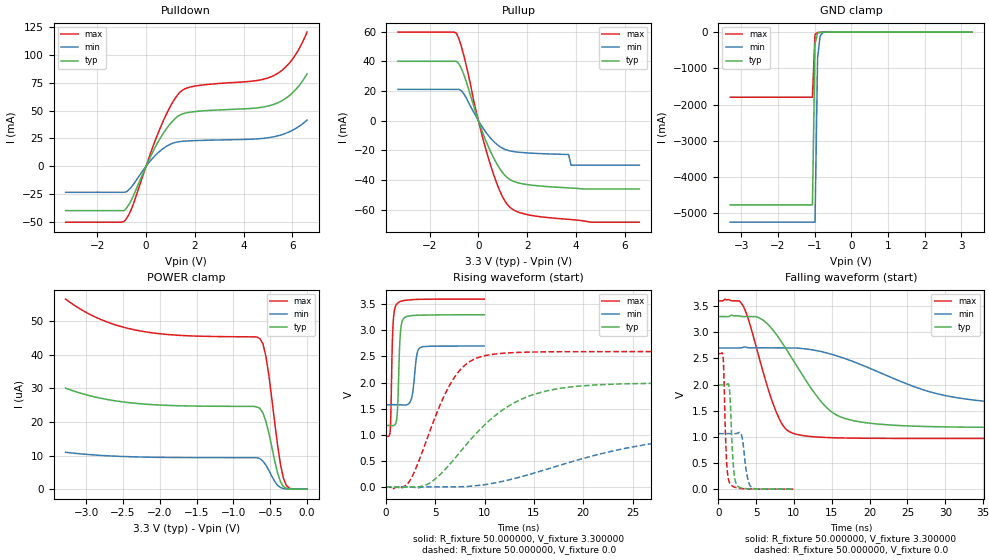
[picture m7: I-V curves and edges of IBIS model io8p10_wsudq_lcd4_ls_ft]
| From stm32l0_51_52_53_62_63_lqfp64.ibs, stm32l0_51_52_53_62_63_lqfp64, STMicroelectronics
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|   Model io8p10_wsudq_lcd4_ls_ft
[Model]  io8p10_wsudq_lcd4_ls_ft
Model_type I/O
Polarity   Non-Inverting
Enable   Active-Low
Vinl =   0.990000V
Vinh =   2.310000V
Vmeas =  1.650000V
Cref =   50.000000pF
Rref =   100.000000M
Vref =   0.0V
C_comp   3.263700pF   3.224800pF   3.309000pF
[Temperature Range]   25.000000   0.125000k   -40.000000
[Pullup Reference]   3.300000V   2.700000V   3.600000V
[Pulldown Reference]   0.0V   0.0V   0.0V
[POWER Clamp Reference]   3.300000V   2.700000V   3.600000V
[GND Clamp Reference]   0.0V   0.0V   0.0V
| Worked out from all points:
|   slope of the pulldown table from 0 to 0.495 V, typ, clamps not added: 22.6 ohm
|   slope of the pullup table from 0 to 0.495 V, typ, clamps not added: 23.9 ohm
|   GND clamp passes 1 mA (typ) near -0.64 V on its own axis
|   rising waveform, R_fixture 50.000000, V_fixture 3.300000: 20-80 % time 236ps typ, 376ps min, 201ps max; typ from 1.18 V to 3.3 V
|   rising waveform, R_fixture 50.000000, V_fixture 0.0: 20-80 % time 6.53ns typ, 13.6ns min, 3.48ns max; typ from 0 V to 1.99 V
|   falling waveform, R_fixture 50.000000, V_fixture 3.300000: 20-80 % time 5.96ns typ, 12.5ns min, 3.27ns max; typ from 3.3 V to 1.18 V
|   falling waveform, R_fixture 50.000000, V_fixture 0.0: 20-80 % time 414ps typ, 577ps min, 338ps max; typ from 1.99 V to 0 V
[Pulldown]
|Voltage   I(typ)   I(min)   I(max)
-3.3V     -39.83mA   -23.37mA   -50.2mA
-900mV    -39.83mA   -23.37mA   -49.52mA
-600mV    -30.28mA   -18.59mA   -38.45mA
500mV     22.11mA    12.28mA    30.1mA
1V        38.33mA    19.81mA    53.88mA
1.4V      46.1mA     22.18mA    66.72mA
2V        49.07mA    23.01mA    71.93mA
4.4V      52.05mA    24.38mA    76.53mA
5.2V      55.25mA    26.31mA    81.02mA
5.6V      59.18mA    28.57mA    86.57mA
6V        65.79mA    32.24mA    95.97mA
6.6V      82.83mA    41.41mA    120.4mA
[Pullup]
|Voltage   I(typ)   I(min)   I(max)
-3.3V     40.03mA    21.09mA    59.71mA
-900mV    40.03mA    21.09mA    58.93mA
-800mV    38.38mA    21.09mA    55.25mA
-600mV    31.19mA    18.17mA    44.03mA
0V        90fA       25.2pA     -900fA
500mV     -20.88mA   -11.78mA   -30.07mA
900mV     -32.92mA   -17.72mA   -48.15mA
1.3V      -39.75mA   -20.41mA   -58.47mA
2V        -43.05mA   -21.73mA   -63.29mA
3.7V      -45.29mA   -22.8mA    -66.5mA
3.8V      -45.39mA   -30mA      -66.64mA
6.6V      -46mA      -30mA      -68.41mA
[GND_clamp]
|Voltage   I(typ)   I(min)   I(max)
-3.3V     -4.767A    -5.245A    -1.798A
-1.06V    -4.767A    -5.245A    -1.798A
-990mV    -327.3mA   -5.245A    -68.38mA
-920mV    -29.22mA   -722.7mA   -11.24mA
-850mV    -6.771mA   -104.4mA   -6.721mA
-780mV    -3.56mA    -17.38mA   -4.326mA
-500mV    -59.41uA   -172uA     -34.91uA
3.28V     0A         0A         0A
[POWER_clamp]
|Voltage   I(typ)   I(min)   I(max)
-3.28V    30.09uA    10.99uA    56.63uA
-2.84V    27.27uA    10.11uA    50.92uA
-2.32V    25.55uA    9.609uA    47.36uA
-640mV    24.06uA    9.1uA      44.84uA
-600mV    22.76uA    8.366uA    43.37uA
-560mV    20.32uA    7.212uA    39.74uA
-520mV    16.86uA    5.676uA    34.15uA
-400mV    4.842uA    1.146uA    13.11uA
-360mV    2.185uA    478.4nA    7.29uA
-320mV    773nA      181.6nA    3.214uA
-240mV    60.58nA    0A         296.5nA
0V        0A         0A         0A
[Ramp]
| variable   typ   min   max
dV/dt_r  1.19496/6.52402n   0.62928/13.55694n   1.55568/3.47436n
dV/dt_f  1.27374/5.94974n   0.65334/12.42490n   1.57856/3.26796n
R_load = 50.000000
[Rising Waveform]
R_fixture= 50.000000
V_fixture= 3.300000
V_fixture_min= 2.700000
V_fixture_max= 3.600000
|time   V(typ)   V(min)   V(max)
0s        1.177V     1.573V     969mV
440.4ps   1.176V     1.573V     1.076V
720.7ps   1.173V     1.573V     3.081V
1.081ns   1.275V     1.574V     3.498V
1.201ns   1.567V     1.574V     3.523V
1.461ns   2.921V     1.572V     3.552V
1.822ns   3.231V     1.568V     3.572V
2.583ns   3.282V     1.684V     3.587V
3.423ns   3.291V     2.662V     3.595V
9.97ns    3.3V       2.7V       3.6V
[Rising Waveform]
R_fixture= 50.000000
V_fixture= 0.0
V_fixture_min= 0.0
V_fixture_max= 0.0
|time   V(typ)   V(min)   V(max)
0s        718.3nV    -6.591uV   358.2uV
2.302ns   -2.305mV   -1.631mV   81.18mV
4.204ns   48.28mV    -976.5uV   935.4mV
6.507ns   438.1mV    -605.4uV   1.963V
8.008ns   777.8mV    5.104mV    2.332V
9.51ns    1.094V     30.18mV    2.488V
13.61ns   1.669V     188.3mV    2.578V
18.12ns   1.901V     441.3mV    2.591V
30.43ns   1.989V     914.7mV    2.593V
49.85ns   1.992V     1.062V     2.593V
[Falling Waveform]
R_fixture= 50.000000
V_fixture= 3.300000
V_fixture_min= 2.700000
V_fixture_max= 3.600000
|time   V(typ)   V(min)   V(max)
0s        3.3V       2.7V       3.6V
3.303ns   3.301V     2.711V     3.501V
5.405ns   3.274V     2.703V     2.515V
7.508ns   2.992V     2.702V     1.535V
8.609ns   2.762V     2.701V     1.206V
9.91ns    2.465V     2.7V       1.067V
14.31ns   1.561V     2.605V     988mV
17.92ns   1.308V     2.435V     975.9mV
30.13ns   1.191V     1.785V     969.4mV
49.85ns   1.177V     1.573V     969mV
[Falling Waveform]
R_fixture= 50.000000
V_fixture= 0.0
V_fixture_min= 0.0
V_fixture_max= 0.0
|time   V(typ)   V(min)   V(max)
0s        1.992V     1.062V     2.593V
640.6ps   1.992V     1.062V     2.54V
1.101ns   1.997V     1.062V     543.1mV
1.542ns   1.815V     1.062V     109.9mV
2.002ns   455.3mV    1.061V     49.48mV
2.482ns   74.43mV    1.067V     24.06mV
3.143ns   20.04mV    1.002V     10.49mV
3.744ns   9.282mV    315.2mV    7.237mV
4.384ns   5.326mV    34.16mV    3.979mV
9.97ns    718.3nV    -6.591uV   358.2uV
